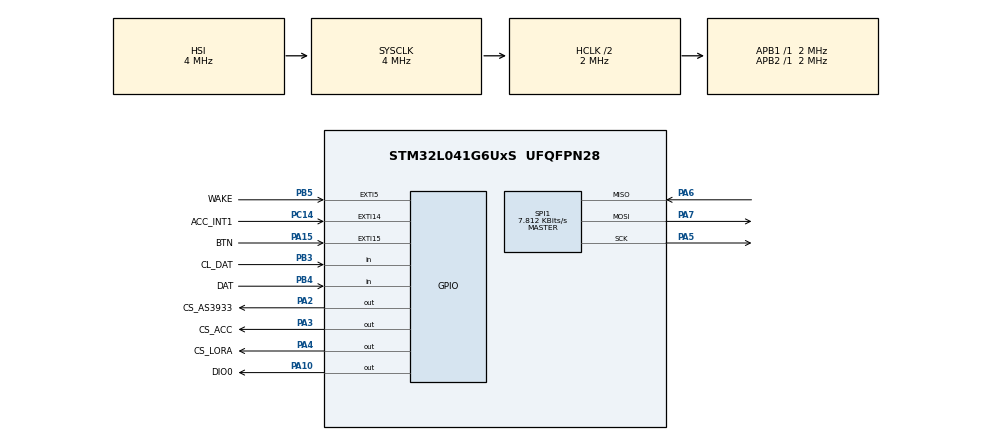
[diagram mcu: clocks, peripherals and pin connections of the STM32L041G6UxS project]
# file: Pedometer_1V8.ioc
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LPTIM1.ClockPrescaler=LPTIM_PRESCALER_DIV1
Mcu.Family=STM32L0
Mcu.Name=STM32L041G6UxS
Mcu.Package=UFQFPN28
NVIC.EXTI4_15_IRQn=true\:0\:0\:true\:false\:true\:true\:true\:true
NVIC.RTC_IRQn=true\:0\:0\:false\:false\:true\:true\:true\:true
PA10.GPIO_Label=DIO0
PA10.Signal=GPIO_Output
PA13.Mode=Serial_Wire
PA13.Signal=SYS_SWDIO
PA14.Mode=Serial_Wire
PA14.Signal=SYS_SWCLK
PA15.GPIO_Label=BTN
PA15.Signal=GPXTI15
PA2.GPIO_Label=CS_AS3933
PA2.GPIO_PuPd=GPIO_NOPULL
PA2.Signal=GPIO_Output
PA3.GPIO_Label=CS_ACC
PA3.GPIO_Speed=GPIO_SPEED_FREQ_LOW
PA3.Signal=GPIO_Output
PA4.GPIO_Label=CS_LORA
PA4.GPIO_Speed=GPIO_SPEED_FREQ_LOW
PA4.Signal=GPIO_Output
PA5.Mode=Full_Duplex_Master
PA5.Signal=SPI1_SCK
PA6.Mode=Full_Duplex_Master
PA6.Signal=SPI1_MISO
PA7.Mode=Full_Duplex_Master
PA7.Signal=SPI1_MOSI
PB3.GPIO_Label=CL_DAT
PB3.GPIO_PuPd=GPIO_NOPULL
PB3.Signal=GPIO_Input
PB4.GPIO_Label=DAT
PB4.GPIO_PuPd=GPIO_NOPULL
PB4.Signal=GPIO_Input
PB5.GPIO_Label=WAKE
PB5.GPIO_PuPd=GPIO_NOPULL
PB5.Signal=GPXTI5
PC14-OSC32_IN.GPIO_Label=ACC_INT1
PC14-OSC32_IN.GPIO_ModeDefaultEXTI=GPIO_MODE_IT_FALLING
PC14-OSC32_IN.GPIO_PuPd=GPIO_NOPULL
PC14-OSC32_IN.Signal=GPXTI14
ProjectManager.HeapSize=0x200
ProjectManager.StackSize=0x400
ProjectManager.TargetToolchain=MDK-ARM V5.32
RCC.ADCFreq_Value=4000000
RCC.AHBCLKDivider=RCC_SYSCLK_DIV2
RCC.AHBFreq_Value=2000000
RCC.APB1Freq_Value=2000000
RCC.APB1TimFreq_Value=2000000
RCC.APB2Freq_Value=2000000
RCC.APB2TimFreq_Value=2000000
RCC.HCLKFreq_Value=2000000
RCC.HSE_VALUE=8000000
RCC.HSI16_VALUE=16000000
RCC.HSIRCDiv=4
RCC.HSI_VALUE=4000000
RCC.LSE_VALUE=32768
RCC.LptimClockSelection=RCC_LPTIM1CLKSOURCE_LSI
RCC.MSI_VALUE=2097000
RCC.SYSCLKFreq_VALUE=4000000
RCC.SYSCLKSource=RCC_SYSCLKSOURCE_HSI
RCC.VCOOutputFreq_Value=12000000
RCC.VDD_VALUE=3.3
RTC.Format=RTC_FORMAT_BIN
RTC.SynchPrediv=295
RTC.WakeUpClock-WakeUp=RTC_WAKEUPCLOCK_CK_SPRE_16BITS
RTC.WakeUpCounter-WakeUp=10
SPI1.BaudRatePrescaler=SPI_BAUDRATEPRESCALER_256
SPI1.CLKPhase=SPI_PHASE_1EDGE
SPI1.CLKPolarity=SPI_POLARITY_LOW
SPI1.CalculateBaudRate=7.812 KBits/s
SPI1.Direction=SPI_DIRECTION_2LINES
SPI1.Mode=SPI_MODE_MASTER
SPI1.VirtualType=VM_MASTER
VP_LPTIM1_VS_LPTIM_counterModeInternalClock.Mode=Counts__internal_clock_event_00
VP_RTC_VS_RTC_Activate.Mode=RTC_Enabled
VP_RTC_VS_RTC_Calendar.Mode=RTC_Calendar
VP_RTC_VS_RTC_WakeUp_intern.Mode=WakeUp
board=custom

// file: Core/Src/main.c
/* USER CODE BEGIN Header */
/**
 ******************************************************************************
 * @file           : main.c
 * @brief          : Main program body
 ******************************************************************************
 * @attention
 *
 * Copyright (c) 2022 STMicroelectronics.
 * All rights reserved.
 *
 * This software is licensed under terms that can be found in the LICENSE file
 * in the root directory of this software component.
 * If no LICENSE file comes with this software, it is provided AS-IS.
 *
 ******************************************************************************
 */
/* USER CODE END Header */
#include "main.h"
#include "lptim.h"
#include "rtc.h"
#include "spi.h"
#include "gpio.h"

/* USER CODE BEGIN Includes */
#include <stdbool.h>
#include <string.h>
#include "soft_timer.h"
#include "macro.h"
#include "edge_detection.h"
#include "coeffs.h"
#include "lora.h"
#include "math.h"
#include "spi_hal.h"
#include "AS3933.h"
#include "lis2hh12_reg.h"
#include "checksum.h"
/* USER CODE END Includes */

/* USER CODE BEGIN PTD */
typedef struct
{
	uint32_t dw_id;
	uint32_t dw_ref;
	uint16_t w_steps;
	uint16_t w_crc;
	uint8_t b_time_of_rest;
	uint8_t b_time_of_stand;
	uint8_t b_rest_stand_cnt;
	bool o_step_detected;
} step_attr_t;

/* USER CODE END PTD */

/* USER CODE BEGIN PV */
static lora_t radio;
static uint8_t ab_pedometer_data[k_PEDOMETER_DATA_SIZE] =
{
	[0] = k_SOH,
	[k_PEDOMETER_DATA_SIZE - 1] = k_EOT,
};

static step_attr_t s_step =
{
	.dw_id = k_ID,
	.dw_ref = k_REF,
};

static stmdev_ctx_t dev_ctx;
static lis2hh12_pin_int1_route_t int1_route;

static float af_acc_mg[3];
static int16_t ai_acc_raw[3];

static uint8_t b_acc_wake_up_src;
static uint8_t b_status_reg;
static uint8_t b_rtc_wakeup_cnt;

static uint8_t whoamI, rst;
static bool o_tilted = false;

static uint8_t b_standing_watch_cnt = 0;
static uint8_t b_rest_watch_cnt = 0;
static bool	o_standing = true;
static bool o_resting = false;
static bool o_rest = false;
static bool o_stand = false;

// determine the exact result in runtime and add them in coeffs.h and delete them for production
uint32_t k_X_ACCEL_PRESET1=				850;
uint32_t k_X_ACCEL_PRESET2=				860;
uint32_t k_STEP_DEBOUNCE=					3700;

uint8_t b_ask_data = 0;

/* USER CODE END PV */

void SystemClock_Config(void);
/* USER CODE BEGIN PFP */
void lora_init_sequence(void);
void acc_init_sequence(void);
void as3933_init_sequence(void);
void update_pedometer_data(void);
void reset_vars_after_15min(void);
static void set_stop_mode(void);
static int32_t platform_write(void *handle, uint8_t reg, const uint8_t *bufp, uint16_t len);
static int32_t platform_read(void *handle, uint8_t reg, uint8_t *bufp, uint16_t len);
static void delay_ms(uint32_t ms);
static void delay_Xms(void);

void gpio_set_all_cs(void);
/* USER CODE END PFP */

/* USER CODE BEGIN 0 */
//Tilt = acos( Gz / sqrt(Gx2+Gy2+Gz2) ) -> for small angles
// Tilt = atan2( sqrt(Gx2 + Gy2) , Gz ) no need to check if Gz=0 -> for -45 ... +45
/* USER CODE END 0 */

int main(void)
{

  /* MCU Configuration--------------------------------------------------------*/

  /* Reset of all peripherals, Initializes the Flash interface and the Systick. */
  HAL_Init();

  /* Configure the system clock */
  SystemClock_Config();

  /* Initialize all configured peripherals */
  MX_GPIO_Init();
  MX_SPI1_Init();
  MX_RTC_Init();
  MX_LPTIM1_Init();
  /* USER CODE BEGIN 2 */
	LL_GPIO_SetOutputPin(CS_ACC_GPIO_Port, CS_ACC_Pin);
	LL_GPIO_SetOutputPin(CS_LORA_GPIO_Port, CS_LORA_Pin);
	LL_GPIO_ResetOutputPin(CS_AS3933_GPIO_Port, CS_AS3933_Pin);

	acc_init_sequence();
	lora_init_sequence();
	as3933_init_sequence();

	ab_pedometer_data[1] = (uint8_t)(s_step.dw_id);
	ab_pedometer_data[2] = (uint8_t)(s_step.dw_id >> 8);
	ab_pedometer_data[3] = (uint8_t)(s_step.dw_id >> 16);
	ab_pedometer_data[4] = (uint8_t)(s_step.dw_id >> 24);
	ab_pedometer_data[5] = (uint8_t)(s_step.dw_ref);
	ab_pedometer_data[6] = (uint8_t)(s_step.dw_ref >> 8);
	ab_pedometer_data[7] = (uint8_t)(s_step.dw_ref >> 16);
	ab_pedometer_data[8] = (uint8_t)(s_step.dw_ref >> 24);

	set_stop_mode();

  /* USER CODE END 2 */

  /* Infinite loop */
	while (1)
	{

	}
}

void SystemClock_Config(void)
{
  RCC_OscInitTypeDef RCC_OscInitStruct = {0};
  RCC_ClkInitTypeDef RCC_ClkInitStruct = {0};
  RCC_PeriphCLKInitTypeDef PeriphClkInit = {0};

  /** Configure the main internal regulator output voltage
  */
  __HAL_PWR_VOLTAGESCALING_CONFIG(PWR_REGULATOR_VOLTAGE_SCALE1);

  /** Initializes the RCC Oscillators according to the specified parameters
  * in the RCC_OscInitTypeDef structure.
  */
  RCC_OscInitStruct.OscillatorType = RCC_OSCILLATORTYPE_HSI|RCC_OSCILLATORTYPE_LSI;
  RCC_OscInitStruct.HSIState = RCC_HSI_DIV4;
  RCC_OscInitStruct.HSICalibrationValue = RCC_HSICALIBRATION_DEFAULT;
  RCC_OscInitStruct.LSIState = RCC_LSI_ON;
  RCC_OscInitStruct.PLL.PLLState = RCC_PLL_NONE;
  if (HAL_RCC_OscConfig(&RCC_OscInitStruct) != HAL_OK)
  {
    Error_Handler();
  }

  /** Initializes the CPU, AHB and APB buses clocks
  */
  RCC_ClkInitStruct.ClockType = RCC_CLOCKTYPE_HCLK|RCC_CLOCKTYPE_SYSCLK
                              |RCC_CLOCKTYPE_PCLK1|RCC_CLOCKTYPE_PCLK2;
  RCC_ClkInitStruct.SYSCLKSource = RCC_SYSCLKSOURCE_HSI;
  RCC_ClkInitStruct.AHBCLKDivider = RCC_SYSCLK_DIV2;
  RCC_ClkInitStruct.APB1CLKDivider = RCC_HCLK_DIV1;
  RCC_ClkInitStruct.APB2CLKDivider = RCC_HCLK_DIV1;

  if (HAL_RCC_ClockConfig(&RCC_ClkInitStruct, FLASH_LATENCY_0) != HAL_OK)
  {
    Error_Handler();
  }
  PeriphClkInit.PeriphClockSelection = RCC_PERIPHCLK_RTC|RCC_PERIPHCLK_LPTIM1;
  PeriphClkInit.RTCClockSelection = RCC_RTCCLKSOURCE_LSI;
  PeriphClkInit.LptimClockSelection = RCC_LPTIM1CLKSOURCE_LSI;

  if (HAL_RCCEx_PeriphCLKConfig(&PeriphClkInit) != HAL_OK)
  {
    Error_Handler();
  }
}

/* USER CODE BEGIN 4 */

static void set_stop_mode(void)
{
	HAL_SuspendTick();
	HAL_PWR_EnableSleepOnExit();
	HAL_PWR_EnterSTOPMode(PWR_LOWPOWERREGULATOR_ON, PWR_STOPENTRY_WFI);
//	HAL_RTCEx_DeactivateWakeUpTimer(&hrtc);
}

static int32_t platform_write(void *handle, uint8_t reg, const uint8_t *bufp, uint16_t len)
{
	LL_GPIO_ResetOutputPin(CS_ACC_GPIO_Port, CS_ACC_Pin);
	spi_transmit(SPI1, &reg, 1);
	spi_transmit(SPI1, bufp, len);
	LL_GPIO_SetOutputPin(CS_ACC_GPIO_Port, CS_ACC_Pin);
	return 0;
}

static int32_t platform_read(void *handle, uint8_t reg, uint8_t *bufp, uint16_t len)
{
	reg |= 0x80;
	LL_GPIO_ResetOutputPin(CS_ACC_GPIO_Port, CS_ACC_Pin);
	spi_transmit(SPI1, &reg, 1);
	spi_transmit_receive(SPI1, bufp, bufp, len);
	LL_GPIO_SetOutputPin(CS_ACC_GPIO_Port, CS_ACC_Pin);
	return 0;
}

void HAL_RTCEx_WakeUpTimerEventCallback(RTC_HandleTypeDef *hrtc)
{
//	SystemClock_Config();
	b_status_reg = 0;
	while(!READ_BIT_POS(b_status_reg, 3))
	{
		lis2hh12_read_reg(&dev_ctx, LIS2HH12_STATUS, &b_status_reg, 1);
	}

	lis2hh12_acceleration_raw_get(&dev_ctx, ai_acc_raw);
	af_acc_mg[0] = lis2hh12_from_fs4g_to_mg(ai_acc_raw[0]);

	if (af_acc_mg[0] < k_X_ACCEL_PRESET1)
	{
		o_tilted = true;
	}
	else if (af_acc_mg[0] > k_X_ACCEL_PRESET2) // to prevent unstable range X_ACCEL_PRESET2
	{
		o_tilted = false;
	}
	if (o_tilted && !s_step.o_step_detected) // watch resting
	{
		o_resting = true;
		o_standing = false;
	}
	else if (!o_tilted && s_step.o_step_detected) // watch standing
	{
		o_standing = true;
		o_resting = false;
	}

	if (o_resting && !o_standing)	// RESTING
	{
		++b_rest_watch_cnt;
		if(b_rest_watch_cnt >= k_SIT_DOWN)
		{
			if(o_stand) // detection of sit-down
			{
				o_rest = true;
			}
		}
		if(b_rest_watch_cnt >= k_REST_EXACT) {++s_step.b_time_of_rest;}
	}

	if(o_standing && !o_resting)  // STANDING
	{
		++b_standing_watch_cnt;
		if(b_standing_watch_cnt >= k_SIT_DOWN) {o_stand = true;}
		if (b_standing_watch_cnt >= k_STAND_EXACT) {++s_step.b_time_of_stand;}
	}

	/* increase the rest_stand counter */
	if(o_stand && o_rest)
	{
		o_stand = false;
		o_rest = false;
		++s_step.b_rest_stand_cnt;
	}

	s_step.o_step_detected = false;

	++b_rtc_wakeup_cnt;
	// LORA send
	if (b_rtc_wakeup_cnt >= k_SEND_LORA) // 18 is 3 min : 90 is 15 min
	{
		// 	send LORA information every 15 min acc.to this callback period
//		if(b_rest_watch_cnt >= k_REST_EXACT) {s_step.b_time_of_rest += (k_REST_EXACT - 1);}
//		update_pedometer_data();
//		lora_standby();
//		delay_ms(5);
//		lora_send_msg(&radio, ab_pedometer_data, k_PEDOMETER_DATA_SIZE);
//		delay_ms(5);
//		lora_sleep();
//		reset_vars_after_15min();
	}
	gpio_set_all_cs();
}

void callback_acc(void)
{
	static uint8_t	_10s = 0;
//	SystemClock_Config();
	LPTIM1->CNT = 0;

	while (1)
	{
		lis2hh12_read_reg(&dev_ctx, LIS2HH12_STATUS, &b_status_reg, 1);

		if (LL_GPIO_IsInputPinSet(ACC_INT1_GPIO_Port, ACC_INT1_Pin))
		{
			break;
		}

		if (READ_BIT_POS(b_status_reg, 3))
		{
			lis2hh12_acceleration_raw_get(&dev_ctx, ai_acc_raw);
			af_acc_mg[0] = lis2hh12_from_fs4g_to_mg(ai_acc_raw[0]);

			if (af_acc_mg[0] < k_X_ACCEL_PRESET1)
			{
				o_tilted = true;
			}
			else if (af_acc_mg[0] > k_X_ACCEL_PRESET2) // to prevent unstable range X_ACCEL_PRESET2
			{
				o_tilted = false;
				(void) edge_detection(ED_STEP, o_tilted);
			}

			//***************************************************************************************//
			// Step detection
			if (TON(TON_STEP, o_tilted, LPTIM1->CNT, k_STEP_DEBOUNCE))
			{
				TON(TON_STEP, 0, 0, 0);
				if (edge_detection(ED_STEP, o_tilted))
				{
					++s_step.w_steps;
					s_step.o_step_detected = true;
				}
			}
		}

		if (TON_16U(TON_WATCH_RTC_WAKEUP, 1, LPTIM1->CNT, k_WATCH_RTC_WAKEUP))
		{
			TON_16U(TON_WATCH_RTC_WAKEUP, 0, 0, 0);
			++_10s;
			if(_10s >= 50)
			{
				_10s = 0;
				++b_rtc_wakeup_cnt;
				if(b_rtc_wakeup_cnt >= k_SEND_LORA)
				{
//					update_pedometer_data();
//					lora_standby();
//					delay_ms(5);
//					lora_send_msg(&radio, ab_pedometer_data, k_PEDOMETER_DATA_SIZE);
//					delay_ms(5);
//					lora_sleep();
//					reset_vars_after_15min();
				}
			}
		}
	}
	gpio_set_all_cs();
}

void callback_as3933_wake(void)
{
	uint8_t i = 0;
	bool o_dat_pin = false;
	bool o_cl_dat_pin = false;

	TON_16U(TON_AS3933_TIMEOUT, 0, 0, 0);
	LPTIM1->CNT = 0;
	b_ask_data = 0;

	while(i < 8)
	{
		o_dat_pin 	 = LL_GPIO_IsInputPinSet(DAT_GPIO_Port, DAT_Pin);
		o_cl_dat_pin = LL_GPIO_IsInputPinSet(CL_DAT_GPIO_Port, CL_DAT_Pin);

		if (edge_detection(ED_CL_DAT, o_cl_dat_pin))
		{
			o_dat_pin?SET_BIT_POS(b_ask_data, i++):RESET_BIT_POS(b_ask_data, i++);
		}

		if(TON_16U(TON_AS3933_TIMEOUT, 1, LPTIM1->CNT, k_AS3933_TIMEOUT))
		{
			TON_16U(TON_AS3933_TIMEOUT, 0, 0, 0);
			break;
		}
	}

	spi1_user_init_high_1edge();
	as3933_set_listening_mode();
	spi1_user_init_low_1edge();
	gpio_set_all_cs();
}

void gpio_set_all_cs(void)
{
	LL_GPIO_SetOutputPin(CS_ACC_GPIO_Port, CS_ACC_Pin);
	LL_GPIO_SetOutputPin(CS_LORA_GPIO_Port, CS_LORA_Pin);
	LL_GPIO_SetOutputPin(CS_AS3933_GPIO_Port, CS_AS3933_Pin);
}
void callback_btn(void)
{
//	SystemClock_Config();
	update_pedometer_data();
	lora_standby();
	delay_ms(20);
	lora_send_msg(&radio, ab_pedometer_data, k_PEDOMETER_DATA_SIZE);
	delay_ms(5);
	lora_sleep();
	LL_GPIO_SetOutputPin(CS_ACC_GPIO_Port, CS_ACC_Pin);
	LL_GPIO_SetOutputPin(CS_LORA_GPIO_Port, CS_LORA_Pin);
	LL_GPIO_SetOutputPin(CS_AS3933_GPIO_Port, CS_AS3933_Pin);
}

void update_pedometer_data(void)
{
		ab_pedometer_data[9] = (uint8_t)(s_step.w_steps);
		ab_pedometer_data[10] = (uint8_t)(s_step.w_steps >> 8);

		ab_pedometer_data[11] = (uint8_t)(s_step.b_time_of_rest);
		ab_pedometer_data[12] = (uint8_t)(s_step.b_rest_stand_cnt);

		s_step.w_crc = crc_16(ab_pedometer_data + 1, 12);

		ab_pedometer_data[13] = (uint8_t)(s_step.w_crc);
		ab_pedometer_data[14] = (uint8_t)(s_step.w_crc >> 8);
}

void reset_vars_after_15min(void)
{
		CLEAR_STRUCT(s_step);
		// reset local variables
		b_rtc_wakeup_cnt = 0;
		b_standing_watch_cnt = 0;
		b_rest_watch_cnt = 0;
		o_stand = false;
		o_rest = false;
}

void lora_init_sequence(void)
{
	radio.Modulation = LORA;
	radio.COB = RFM98;
	radio.Frequency = 434000;
	radio.OutputPower = 13; //dBm
	radio.PreambleLength = 12;
	radio.FixedPktLength = false; //explicit header mode for LoRa
	radio.PayloadLength = k_PEDOMETER_DATA_SIZE;
	radio.CrcDisable = true;
	radio.SFSel = SF9;
	radio.BWSel = BW125K;
	radio.CRSel = CR4_5;
	lora_init(&radio);
	lora_standby();
	delay_ms(100);
	lora_sleep();
}

void acc_init_sequence(void)
{
	dev_ctx.write_reg = platform_write;
	dev_ctx.read_reg = platform_read;
	dev_ctx.handle = SPI1;

	delay_ms(k_BOOT_TIME);
	lis2hh12_dev_id_get(&dev_ctx, &whoamI);
	if (whoamI != LIS2HH12_ID)
		while (1);

	/* Restore default configuration */
	lis2hh12_dev_reset_set(&dev_ctx, PROPERTY_ENABLE);

	do
	{
		lis2hh12_dev_reset_get(&dev_ctx, &rst);
	} while (rst);

	/* Start device configuration. */
	lis2hh12_i2c_interface_set(&dev_ctx, LIS2HH12_I2C_DISABLE);
	lis2hh12_spi_mode_set(&dev_ctx, LIS2HH12_SPI_4_WIRE);

	lis2hh12_xl_axis_set(&dev_ctx, (lis2hh12_xl_axis_t){.xen = PROPERTY_ENABLE, .yen = PROPERTY_DISABLE, .zen = PROPERTY_DISABLE});

	lis2hh12_block_data_update_set(&dev_ctx, PROPERTY_ENABLE);
	lis2hh12_xl_data_rate_set(&dev_ctx, LIS2HH12_XL_ODR_OFF);
	lis2hh12_xl_full_scale_set(&dev_ctx, LIS2HH12_4g);

	lis2hh12_auto_increment_set(&dev_ctx, LIS2HH12_ENABLE);

	lis2hh12_pin_mode_set(&dev_ctx, LIS2HH12_PUSH_PULL);
	lis2hh12_pin_polarity_set(&dev_ctx, LIS2HH12_ACTIVE_HIGH);

	/*****		ACTIVITY INACTIVITY		*****/
	lis2hh12_act_threshold_set(&dev_ctx, 8); // Full scale / 128 [mg] = 31.25 mg
	lis2hh12_act_duration_set(&dev_ctx, 4); // (8/50) * 4 = 640 ms

	lis2hh12_pin_int1_route_get(&dev_ctx, &int1_route);
	int1_route.int1_inact = PROPERTY_ENABLE;
	lis2hh12_pin_int1_route_set(&dev_ctx, int1_route);
}

void as3933_init_sequence(void)
{
	spi1_user_init_high_1edge();
	as3933_write_Rx(AS3933_R0, AS3933_ON_OFF | AS3933_EN_A3 | AS3933_DAT_MASK);
	as3933_write_Rx(AS3933_R1, AS3933_AGC_UD | AS3933_EN_XTAL | AS3933_EN_MANCH | AS3933_EN_WPAT);
	as3933_write_Rx(AS3933_R3, AS3933_SET_FS_ENV(2) | AS3933_SET_FS_SCL(5));
	as3933_write_Rx(AS3933_R4, AS3933_SET_T_OFF(3) | AS3933_SET_D_RES(0) | AS3933_SET_GR(0));
	as3933_write_Rx(AS3933_R7, AS3933_SET_T_HBIT(10));
	as3933_write_Rx(AS3933_R19, AS3933_CAP_CH3_8pF);
	as3933_reset_rssi();
	as3933_set_listening_mode();
	spi1_user_init_low_1edge();
}

static void delay_ms(uint32_t ms)
{
	__IO uint32_t tmp = SysTick->CTRL;
	((void) tmp);

	while (ms)
	{
		if ((SysTick->CTRL & SysTick_CTRL_COUNTFLAG_Msk) != 0U)
		{
			--ms;
		}
	}
}

static void delay_Xms(void)
{
	//3700 -> 100 ms
	LPTIM1->CNT = 0;
	while (LPTIM1->CNT < 3700){}
}

/* USER CODE END 4 */

void Error_Handler(void)
{
	__disable_irq();
	while (1)
	{
	}
}
